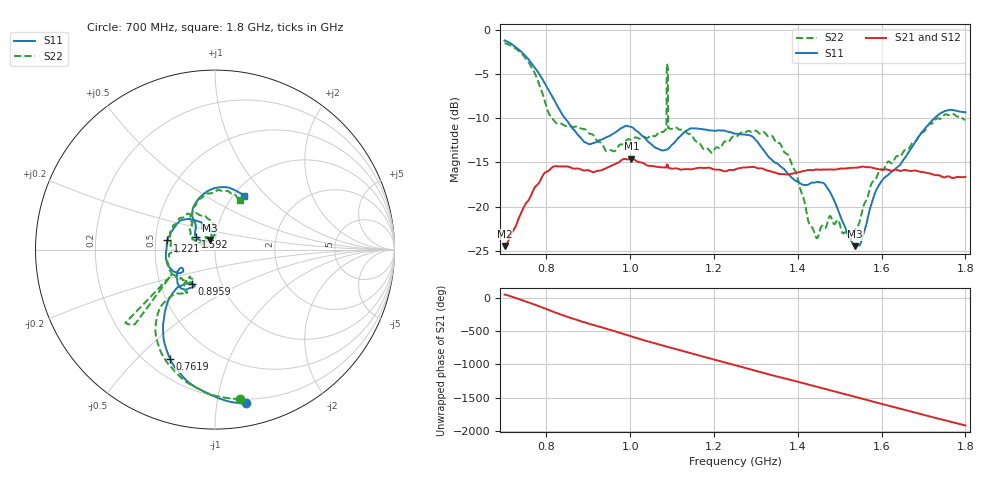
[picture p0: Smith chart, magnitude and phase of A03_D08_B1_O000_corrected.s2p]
! Created with skrf 1.9.0 (http://scikit-rf.org).
# Hz S RI R 50.0
!freq ReS11 ImS11 ReS21 ImS21 ReS12 ImS12 ReS22 ImS22
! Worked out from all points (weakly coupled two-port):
!   1601 points, 700 MHz to 1.8 GHz, reference 50 ohm
!   highest |S21| = -14.55 dB at 1.002 GHz (marker M1); lowest = -24.5 dB at 700.7 MHz (marker M2)
!   lowest |S11| = -24.5 dB at 1.537 GHz (marker M3), VSWR 1.13, Z = 47.1 + j5.04 ohm
!   |S11| at or under -10 dB: 844.7 MHz to 1.726 GHz (881 MHz wide, 68.6 % of centre)
!   |S22| runs from -23.8 to -1.5 dB; largest |S21 - S12| = 0.0037
!   S11 on the Smith chart (normalised r, x): 700 MHz: 0.17, -1.21; 761.9 MHz: 0.29, -0.63; 895.9 MHz: 0.72, -0.29; 1.221 GHz: 0.58, +0.06; 1.592 GHz: 0.80, +0.12; 1.8 GHz: 1.12, +0.76
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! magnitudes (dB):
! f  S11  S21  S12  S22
! 700 MHz  -1.2  -24.5  -24.2  -1.5
! 700.7 MHz  -1.2  -24.5  -24.2  -1.5
! 761.9 MHz  -3.6  -18.9  -18.8  -4.0
! 816.2 MHz  -7.7  -15.5  -15.6  -10.1
! 883.6 MHz  -12.3  -15.8  -15.7  -11.2
! 895.9 MHz  -12.8  -15.9  -16.0  -11.4
! 944.8 MHz  -12.1  -15.6  -15.6  -13.8
! 1.002 GHz  -11.0  -14.6  -14.7  -12.4
! 1.067 GHz  -13.5  -15.5  -15.5  -11.6
! 1.093 GHz  -13.4  -15.6  -15.6  -11.1
! 1.096 GHz  -13.2  -15.7  -15.7  -11.2
! 1.221 GHz  -11.4  -15.9  -16.0  -12.9
! 1.25 GHz  -11.7  -15.8  -15.7  -12.1
! 1.358 GHz  -15.4  -16.3  -16.3  -12.9
! 1.396 GHz  -17.1  -16.2  -16.2  -16.1
! 1.434 GHz  -17.3  -15.9  -15.8  -22.3
! 1.47 GHz  -17.8  -15.8  -15.8  -21.9
! 1.537 GHz  -24.5  -15.6  -15.6  -22.6
! 1.592 GHz  -17.7  -15.8  -15.7  -16.2
! 1.617 GHz  -16.3  -15.9  -15.8  -14.9
! 1.733 GHz  -9.7  -16.4  -16.5  -10.0
! 1.8 GHz  -9.3  -16.6  -16.6  -10.2
